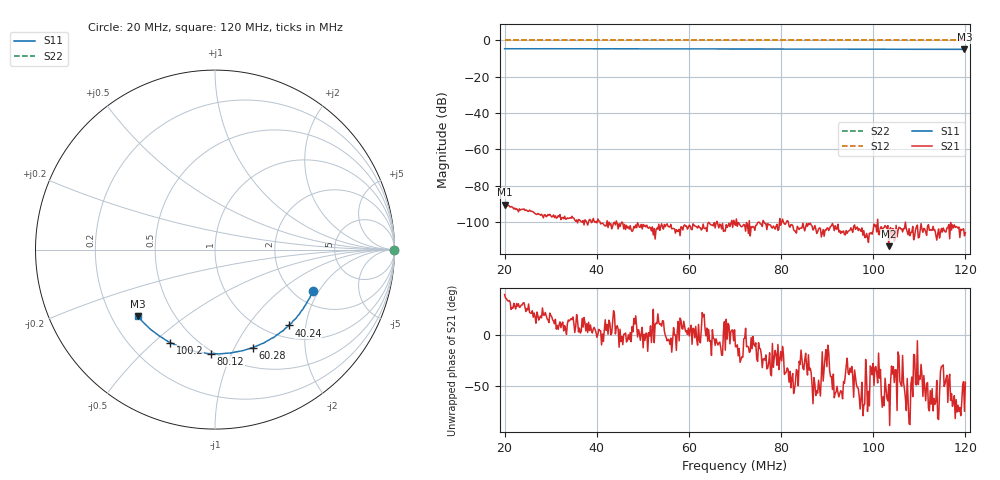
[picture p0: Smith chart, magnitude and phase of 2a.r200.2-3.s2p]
! Anritsu VNA Master:  Model: MS2036C/10/77
! SN:  1601066
! /bd0/18may26.balun/2a.r200.2.s2p
! Existing Calibration Information:
! TYPE:  Current Settings,  Active Cal Settings
! TIME:  05/26/2018 08:01:06 PM,  05/26/2018 07:26:54 PM
! INTERNAL TEMP:  45.5 C,  45.5 C
! # POINTS:  500,  500
! START FREQ:  20.000 MHz,  20.000 MHz
! STOP FREQ:  120.000 MHz,  120.000 MHz
! SOURCE POWER:  High,  High
! IFBW:  50 Hz,  50 Hz
! AVG FACTOR:  1 ,  1
! REF PLANE 1:  0 mm,  0 mm
! REF PLANE 2:  0 mm,  0 mm
! CAL TYPE:  Full S11,  Full S11
! CAL METHOD:  SOLT,  SOLT
! CAL LINE TYPE:  Coax,  Coax
! DUT PORT 1:  K-Conn(M),  K-Conn(M)
! DUT PORT 2:  K-Conn(M),  K-Conn(M)
! CAL STATUS:  OK: Accuracy High,  --
# GHZ S DB R 50.0
! FREQ.GHZ  S11DB  S11A  S21DB  S21A  S12DB  S12A  S22DB  S22A
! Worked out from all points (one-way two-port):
!   500 points, 20 MHz to 120 MHz, reference 50 ohm
!   highest |S21| = -90.45 dB at 20 MHz (marker M1); lowest = -113.3 dB at 103.4 MHz (marker M2)
!   lowest |S11| = -4.9 dB at 119.8 MHz (marker M3), VSWR 3.63, Z = 15.5 - j17 ohm
!   |S11| at or under -10 dB: nowhere
!   |S22| runs from 0.0 to 0.0 dB; largest |S21 - S12| = 1
!   S11 on the Smith chart (normalised r, x): 20 MHz: 2.52, -1.77; 40.24 MHz: 1.24, -1.61; 60.28 MHz: 0.71, -1.19; 80.12 MHz: 0.48, -0.84; 100.2 MHz: 0.37, -0.57; 120 MHz: 0.31, -0.34
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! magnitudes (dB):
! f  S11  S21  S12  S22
! 20 MHz  -4.6  -90.4  0.0  0.0
! 29.82 MHz  -4.6  -95.7  0.0  0.0
! 31.42 MHz  -4.6  -97.6  0.0  0.0
! 35.43 MHz  -4.6  -99.6  0.0  0.0
! 36.83 MHz  -4.6  -100.1  0.0  0.0
! 38.44 MHz  -4.6  -98.6  0.0  0.0
! 40.24 MHz  -4.6  -98.3  0.0  0.0
! 42.24 MHz  -4.6  -99.3  0.0  0.0
! 43.85 MHz  -4.6  -100.1  0.0  0.0
! 45.25 MHz  -4.6  -100.9  0.0  0.0
! 47.86 MHz  -4.6  -104.5  0.0  0.0
! 49.06 MHz  -4.6  -101.6  0.0  0.0
! 53.47 MHz  -4.6  -101.2  0.0  0.0
! 60.28 MHz  -4.6  -102.2  0.0  0.0
! 61.68 MHz  -4.7  -102.7  0.0  0.0
! 70.1 MHz  -4.7  -101.8  0.0  0.0
! 80.12 MHz  -4.7  -100.0  0.0  0.0
! 86.73 MHz  -4.8  -102.2  0.0  0.0
! 100.2 MHz  -4.8  -101.1  0.0  0.0
! 103.4 MHz  -4.8  -113.3  0.0  0.0
! 119.8 MHz  -4.9  -107.6  0.0  0.0
! 120 MHz  -4.9  -105.9  0.0  0.0
